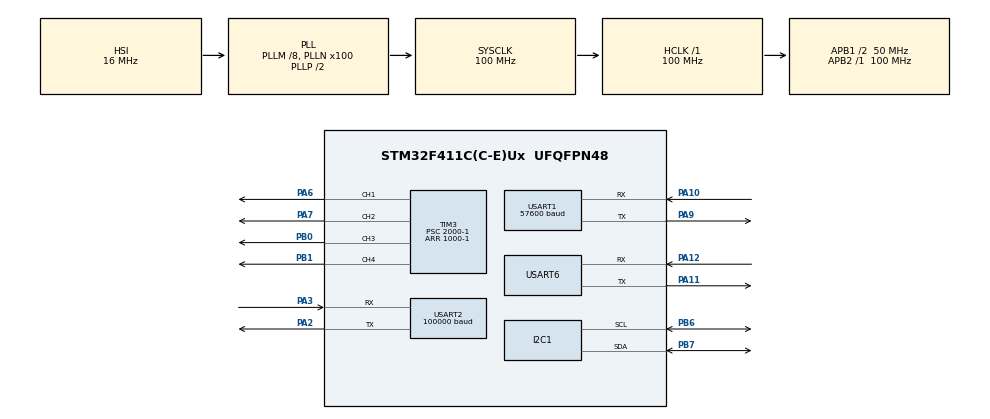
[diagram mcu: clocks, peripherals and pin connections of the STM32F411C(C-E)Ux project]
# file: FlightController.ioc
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Dma.Request0=USART2_RX
Dma.Request1=USART1_RX
Dma.USART1_RX.1.Direction=DMA_PERIPH_TO_MEMORY
Dma.USART1_RX.1.FIFOMode=DMA_FIFOMODE_DISABLE
Dma.USART1_RX.1.Instance=DMA2_Stream2
Dma.USART1_RX.1.MemDataAlignment=DMA_MDATAALIGN_BYTE
Dma.USART1_RX.1.MemInc=DMA_MINC_ENABLE
Dma.USART1_RX.1.Mode=DMA_CIRCULAR
Dma.USART1_RX.1.PeriphDataAlignment=DMA_PDATAALIGN_BYTE
Dma.USART1_RX.1.PeriphInc=DMA_PINC_DISABLE
Dma.USART1_RX.1.Priority=DMA_PRIORITY_LOW
Dma.USART2_RX.0.Direction=DMA_PERIPH_TO_MEMORY
Dma.USART2_RX.0.FIFOMode=DMA_FIFOMODE_DISABLE
Dma.USART2_RX.0.Instance=DMA1_Stream5
Dma.USART2_RX.0.MemDataAlignment=DMA_MDATAALIGN_BYTE
Dma.USART2_RX.0.MemInc=DMA_MINC_ENABLE
Dma.USART2_RX.0.Mode=DMA_CIRCULAR
Dma.USART2_RX.0.PeriphDataAlignment=DMA_PDATAALIGN_BYTE
Dma.USART2_RX.0.PeriphInc=DMA_PINC_DISABLE
Dma.USART2_RX.0.Priority=DMA_PRIORITY_LOW
Mcu.Family=STM32F4
Mcu.Name=STM32F411C(C-E)Ux
Mcu.Package=UFQFPN48
NVIC.DMA1_Stream5_IRQn=true\:0\:0\:false\:false\:true\:false\:true\:true
NVIC.DMA2_Stream2_IRQn=true\:0\:0\:false\:false\:true\:false\:true\:true
NVIC.PriorityGroup=NVIC_PRIORITYGROUP_4
NVIC.USART1_IRQn=true\:2\:0\:true\:false\:true\:true\:true\:true
NVIC.USART2_IRQn=true\:1\:0\:true\:false\:true\:true\:true\:true
PA10.Mode=Asynchronous
PA10.Signal=USART1_RX
PA11.Mode=Asynchronous
PA11.Signal=USART6_TX
PA12.Mode=Asynchronous
PA12.Signal=USART6_RX
PA13.Mode=Serial_Wire
PA13.Signal=SYS_JTMS-SWDIO
PA14.Mode=Serial_Wire
PA14.Signal=SYS_JTCK-SWCLK
PA2.Mode=Asynchronous
PA2.Signal=USART2_TX
PA3.Mode=Asynchronous
PA3.Signal=USART2_RX
PA6.Signal=S_TIM3_CH1
PA7.Signal=S_TIM3_CH2
PA9.Mode=Asynchronous
PA9.Signal=USART1_TX
PB0.Signal=S_TIM3_CH3
PB1.Signal=S_TIM3_CH4
PB6.Mode=I2C
PB6.Signal=I2C1_SCL
PB7.Mode=I2C
PB7.Signal=I2C1_SDA
ProjectManager.HeapSize=0x200
ProjectManager.StackSize=0x400
ProjectManager.TargetToolchain=STM32CubeIDE
RCC.48MHZClocksFreq_Value=50000000
RCC.AHBFreq_Value=100000000
RCC.APB1CLKDivider=RCC_HCLK_DIV2
RCC.APB1Freq_Value=50000000
RCC.APB1TimFreq_Value=100000000
RCC.APB2Freq_Value=100000000
RCC.APB2TimFreq_Value=100000000
RCC.CortexFreq_Value=100000000
RCC.HCLKFreq_Value=100000000
RCC.HSE_VALUE=25000000
RCC.HSI_VALUE=16000000
RCC.LSE_VALUE=32768
RCC.PLLM=8
RCC.PLLN=100
RCC.SYSCLKFreq_VALUE=100000000
RCC.SYSCLKSource=RCC_SYSCLKSOURCE_PLLCLK
RCC.VCOOutputFreq_Value=200000000
SH.S_TIM3_CH1.0=TIM3_CH1,PWM Generation1 CH1
SH.S_TIM3_CH2.0=TIM3_CH2,PWM Generation2 CH2
SH.S_TIM3_CH3.0=TIM3_CH3,PWM Generation3 CH3
SH.S_TIM3_CH4.0=TIM3_CH4,PWM Generation4 CH4
TIM3.Channel-PWM\ Generation1\ CH1=TIM_CHANNEL_1
TIM3.Channel-PWM\ Generation2\ CH2=TIM_CHANNEL_2
TIM3.Channel-PWM\ Generation3\ CH3=TIM_CHANNEL_3
TIM3.Channel-PWM\ Generation4\ CH4=TIM_CHANNEL_4
TIM3.Period=1000-1
TIM3.Prescaler=2000-1
TIM3.Pulse-PWM\ Generation1\ CH1=50
TIM3.Pulse-PWM\ Generation2\ CH2=50
TIM3.Pulse-PWM\ Generation3\ CH3=50
TIM3.Pulse-PWM\ Generation4\ CH4=50
USART1.BaudRate=57600
USART1.VirtualMode=VM_ASYNC
USART2.BaudRate=100000
USART2.Parity=PARITY_EVEN
USART2.StopBits=STOPBITS_2
USART2.VirtualMode=VM_ASYNC
USART2.WordLength=WORDLENGTH_9B
USART6.VirtualMode=VM_ASYNC
VP_TIM3_VS_ClockSourceINT.Mode=Internal
board=custom

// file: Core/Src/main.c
/* USER CODE BEGIN Header */
/**
  ******************************************************************************
  * @file           : main.c
  * @brief          : Main program body
  ******************************************************************************
  * @attention
  *
  * Copyright (c) 2025 STMicroelectronics.
  * All rights reserved.
  *
  * This software is licensed under terms that can be found in the LICENSE file
  * in the root directory of this software component.
  * If no LICENSE file comes with this software, it is provided AS-IS.
  *
  ******************************************************************************
  */
/* USER CODE END Header */
#include "main.h"

/* USER CODE BEGIN Includes */
#include <string.h>
#include <stdio.h>
#include <math.h>
#include <stdbool.h>
/* USER CODE END Includes */

/* USER CODE BEGIN PD */
#define RAD2DEG 57.2957795f
//#define Calibrate 0
#define ESC_MIN_CCR 50
#define ESC_MAX_CCR 100
// Giới hạn cho vòng Angle (Outer)
#define ANGLE_RATE_LIMIT 250.0f  // deg/s (Dau ra toi da cua outer loop)
#define ANGLE_I_LIMIT    100.0f  //  (Giới hạn I-term của vòng Angle)

// Giới hạn cho vòng Rate (Inner)
// NOTE: giá trị này ở đơn vị "timer counts" (TIM3 CCR), không phải µs.
// TIM3 config: 1 tick = 20µs => 20 ticks = 400µs. RATE_OUT_LIMIT = 20 -> ±20 counts.
#define RATE_OUT_LIMIT   20.0f  // power (Đầu ra tối đa, +/-20 PWM)
#define RATE_I_LIMIT     20.0f  // (Giới hạn I-term +/-20 PWM)

//Thong so giao tiep SBUS
#define SBUS_FRAME_SIZE    25 //Data chuan cua SBUS
#define SBUS_START_BYTE    0x0F //Start byte cua sbus
#define SBUS_END_BYTE      0x00 //end byte cua sbus
#define SBUS_END_BYTE2      0x04 //end byte cua sbus

#define SBUS_MIN 9 //do
#define SBUS_MAX 1641 //do
#define IDLE_US 1050

#define SBUS_ROLL_MIN 712 //do
#define SBUS_ROLL_MAX 1494 //do
#define SBUS_PITCH_MIN 662 //do
#define SBUS_PITCH_MAX 1494 //do
#define SBUS_YAWRATE_MIN 505 //do
#define SBUS_YAWRATE_MAX 1310 //do

#define Calibrate 1
/* USER CODE END PD */

I2C_HandleTypeDef hi2c1;

TIM_HandleTypeDef htim3;

UART_HandleTypeDef huart1;
UART_HandleTypeDef huart2;
UART_HandleTypeDef huart6;
DMA_HandleTypeDef hdma_usart1_rx;
DMA_HandleTypeDef hdma_usart2_rx;

/* USER CODE BEGIN PV */
uint32_t LoopTimer = 0;
float dt = 0.004f; //timer duy nhat kiem soat sample rate sensor, kalman, pid
//gyro
uint8_t mpu6050_gyro_flag = 0;
float RateRoll = 0.0f, RatePitch = 0.0f, RateYaw = 0.0f;
float RateCalibrationRoll = 0.0f, RateCalibrationPitch = 0.0f, RateCalibrationYaw = 0.0f;
int RateCalibrationNumber = 0;

//accelerometer
uint8_t value[6];
uint8_t mpu6050_acc_flag = 0;
float AccX = 0.0f, AccY = 0.0f, AccZ = 0.0f;
float AngleRoll = 0.0f, AnglePitch = 0.0f;
float AngleCalibrationRoll = 0.0f; //gia tri calib
float AngleCalibrationPitch = 0.0f; //gia tri calib

//GY-951
uint8_t gy951_rx_buffer[64]; // Bo dem de nhan data (64 byte la an toan)
uint8_t gy951_data_to_process[64];
volatile uint8_t gy951_data_ready_flag = 0;
volatile uint16_t gy951_data_size = 0;

float Yaw, Roll, Pitch;
//kalman filter
float KalmanAngleRoll=0.0f, KalmanUncertaintyAngleRoll=2*2; //gia su sai so 2 do thi phuong sai la 2^2
float KalmanAnglePitch=0.0f, KalmanUncertaintyAnglePitch=2*2;

//PID variable
float PIDReturn[]={0, 0, 0};
//-------Rate/innerLoop
float DesiredRateRoll, DesiredRatePitch, DesiredRateYaw;
float ErrorRateRoll, ErrorRatePitch, ErrorRateYaw;
float InputRoll, InputThrottle, InputPitch, InputYaw; // power (us) dem vao motor
float PrevErrorRateRoll, PrevErrorRatePitch,PrevErrorRateYaw;
float PrevItermRateRoll, PrevItermRatePitch,PrevItermRateYaw;
// chua tune
// PID gains
// inner loop pid
float PRateRoll = 0.25f;  float PRatePitch = 0.25f;
float PRateYaw  = 0.9f;
float IRateRoll = 0.0f;  float IRatePitch = 0.0f;   // khi bench test: tạm để 0.0f
float IRateYaw  = 0.0f;
float DRateRoll = 0.0f; float DRatePitch = 0.0f;
float DRateYaw  = 0.0f;

//-------Angle/OuterLoop
float DesiredAngleRoll, DesiredAnglePitch;
float ErrorAngleRoll,   ErrorAnglePitch;
float PrevErrorAngleRoll, PrevErrorAnglePitch;
float PrevItermAngleRoll, PrevItermAnglePitch;
float PAngleRoll = 2.0f;  float PAnglePitch = 2.0f;
float IAngleRoll = 0.0f;  float IAnglePitch = 0.0f;   // sau khi bay ổn định có thể thử 0.02f
float DAngleRoll = 0.0f;  float DAnglePitch = 0.0f;

//Motor Input
float MotorInput1, MotorInput2, MotorInput3, MotorInput4;
uint8_t m1 = 0;
uint8_t m2 = 0;
uint8_t m3 = 0;
uint8_t m4 = 0;
//Bien danh cho STM32CubeMonitor theo doi
volatile uint16_t M1_us=1000, M2_us=1000, M3_us=1000, M4_us=1000;
volatile int      Throttle_us = 1200;
volatile float    M1_pct=0, M2_pct=0, M3_pct=0, M4_pct=0, Throttle_pct=0;

//Bien danh cho SBUS
uint8_t sbus_rx_buffer[SBUS_FRAME_SIZE]; //Luu data tho
volatile uint16_t rc_channels[16]; //sau khi decode sbus thi dem vao buffer nay
volatile uint8_t sbus_data_ready_flag = 0; //flag de check trong while
uint16_t pulse_width;
volatile uint16_t throttle_channel_value;
volatile uint32_t last_sbus_ms = 0;
static float throttle_pulse_filt = 50.0f;   // EMA filter

#define I2C_TIMEOUT_MS 3 // vi vong lap 4ms nen de timeout 3ms

//2 ham user de ghi va doc vao i2c
// vi 0x68 co 7 bit ma ta dia chi can 8 bit nen ta dich 1 bit
static inline HAL_StatusTypeDef wr8(I2C_HandleTypeDef* hi2c, uint8_t reg, uint8_t val) {
  return HAL_I2C_Mem_Write(hi2c, 0x68<<1, reg, I2C_MEMADD_SIZE_8BIT, &val, 1, I2C_TIMEOUT_MS);
}
static inline HAL_StatusTypeDef rd(I2C_HandleTypeDef* hi2c, uint8_t reg, uint8_t* buf, uint16_t len) {
  return HAL_I2C_Mem_Read(hi2c, 0x68<<1, reg, I2C_MEMADD_SIZE_8BIT, buf, len, I2C_TIMEOUT_MS);
}

//kalman filter lay input la: gia tri truoc do, sai so truoc do, input(rate_gyro), gia tri measure (angle_accelerometer)
void kalman_1d(float* pKalmanState,
  float* pKalmanUncertainty, float KalmanInput,
  float KalmanMeasurement, float dt_s)
  {
    float KalmanState = *pKalmanState; //lay gia tri k-1
    float KalmanUncertainty = *pKalmanUncertainty; ////lay sai so k-1
    KalmanState=KalmanState+dt_s*KalmanInput; //B1: du doan tho (raw) goc hien tai (angle(k) = angle(k-1) + dt*toc_do_goc )
    KalmanUncertainty=KalmanUncertainty + dt_s*dt_s * 4 * 4; //B2 du doan tho (raw) sai so hien tai
    float KalmanGain=KalmanUncertainty * 1/(1*KalmanUncertainty + 3 * 3); //B3: tinh he so kalman gain
    KalmanState=KalmanState+KalmanGain * (KalmanMeasurement-KalmanState); //B4: du doan toi uu goc hien tai (angle_kalman)
    KalmanUncertainty=(1-KalmanGain) *  KalmanUncertainty; //B5: du doan toi uu sai so hien tai (saiSo_kalman)
    *pKalmanState=KalmanState; //luu goc du doan_kalman hien tai
    *pKalmanUncertainty=KalmanUncertainty; //luu sai so du doan_kalman hien tai
 }
void gyro_signal(void){

  // read register 0x43 -> 0x48 => 6 byte
  // save to b[6], vi data cua gyro 16bit
  //, ma chia ra 2 mang nen b[0] va b[1] la data day du cua rate_x, tuong tu y voi z
  // tuy nhien voi sensing scale factor 65.5/ do/s thi ta chia gia tri doc duoc cho 65.5 => toc do
  if (rd(&hi2c1, 0x43, value, 6) == HAL_OK) {
	mpu6050_gyro_flag = 1;
    int16_t gx_raw = (int16_t)((value[0] << 8) | value[1]);
    int16_t gy_raw = (int16_t)((value[2] << 8) | value[3]);
    int16_t gz_raw = (int16_t)((value[4] << 8) | value[5]);
    const float sens = 65.5f; // LSB per (deg/s) for FS_SEL=1
    RateRoll  = gx_raw / sens;
    RatePitch = gy_raw / sens;
    RateYaw   = gz_raw / sens;
  }

  //doc accelerometer
  if (rd(&hi2c1, 0x3B, value, 6) == HAL_OK) {
	mpu6050_acc_flag = 1;
	int16_t AccXLSB = (int16_t)((value[0] << 8) | value[1]);
	int16_t AccYLSB = (int16_t)((value[2] << 8) | value[3]);
	int16_t AccZLSB = (int16_t)((value[4] << 8) | value[5]);

	AccX=(float)AccXLSB/4096;
	AccY=(float)AccYLSB/4096;
	AccZ=(float)AccZLSB/4096;
	float denomR = sqrtf(AccX*AccX + AccZ*AccZ) + 1e-6f; // tranh chia cho 0
	float denomP = sqrtf(AccY*AccY + AccZ*AccZ) + 1e-6f;
	AngleRoll  = atanf(AccY / denomR) * RAD2DEG;
	AnglePitch = -atanf(AccX / denomP) * RAD2DEG;
  }
}

//pid tranh I bao hoa, tich luy qua nhieu, vuot gioi han i_limit
// tranh gia tri pid out vuot gioi han out_limit
void pid_equation(float Error, float P , float I, float D,
                  float PrevError, float PrevIterm, float dt_s,
                  float i_limit, float out_limit) {
  float Pterm = P * Error;

  // D dùng dt có chặn đáy
  float deriv_dt = (dt_s > 0.0005f) ? dt_s : 0.0005f; //tranh dt qua nho ~ 0 thi chia bi loi
  float Dterm = D * (Error - PrevError) / deriv_dt;

  // Tính output tạm thời (chưa tích I) để xét bão hòa
  float pre = Pterm + PrevIterm + Dterm;

  float Iterm = PrevIterm;
  // Nếu đang bão hòa và lỗi cùng chiều → không tích I (anti-windup)
  if (!((pre >=  out_limit && Error >  0) ||
        (pre <= -out_limit && Error <  0))) {
    Iterm = PrevIterm + I * (Error + PrevError) * (dt_s * 0.5f); // dien tich hinh thang = (f(k-1) + f(k))*dt/2
    if (Iterm >  i_limit) Iterm =  i_limit;
    if (Iterm < -i_limit) Iterm = -i_limit;
  }

  float out = Pterm + Iterm + Dterm; //gia tri pid
  if (out >  out_limit) out =  out_limit;
  if (out < -out_limit) out = -out_limit;

  PIDReturn[0] = out;
  PIDReturn[1] = Error;
  PIDReturn[2] = Iterm;
}

void reset_pid(void) {
	PrevErrorRateRoll=0; PrevErrorRatePitch=0;	PrevErrorRateYaw=0;
	PrevItermRateRoll=0; PrevItermRatePitch=0;	PrevItermRateYaw=0;
	PrevErrorAngleRoll=0; PrevErrorAnglePitch=0;
	PrevItermAngleRoll=0; PrevItermAnglePitch=0;
}

//gioi han gia tri power (us) gui ve esc
static inline uint16_t pulse_saturate(int v) {
  if (v < ESC_MIN_CCR) v = ESC_MIN_CCR;
  if (v > ESC_MAX_CCR) v = ESC_MAX_CCR;
  return (uint16_t)v;
}

//giai ma sbus data raw vao rc_channel[16]
void sbus_decode(volatile uint8_t* sbus_frame, uint16_t* channels) {
    // Kiểm tra Start Byte và End Byte, end byte co loa 0x00 co loai 0x04
    if (sbus_frame[0] != SBUS_START_BYTE || (sbus_frame[24] != SBUS_END_BYTE && sbus_frame[24] != SBUS_END_BYTE2)) {
        return; // Gói tin không hợp lệ
    }

    // Giải mã 16 kênh (mỗi kênh 11 bit)
    channels[0]  = (uint16_t)((sbus_frame[1]    | sbus_frame[2] << 8) & 0x07FF);
    channels[1]  = (uint16_t)((sbus_frame[2] >> 3 | sbus_frame[3] << 5) & 0x07FF);
    channels[2]  = (uint16_t)((sbus_frame[3] >> 6 | sbus_frame[4] << 2 | sbus_frame[5] << 10) & 0x07FF);
    channels[3]  = (uint16_t)((sbus_frame[5] >> 1 | sbus_frame[6] << 7) & 0x07FF);
    channels[4]  = (uint16_t)((sbus_frame[6] >> 4 | sbus_frame[7] << 4) & 0x07FF);
    channels[5]  = (uint16_t)((sbus_frame[7] >> 7 | sbus_frame[8] << 1 | sbus_frame[9] << 9) & 0x07FF);
    channels[6]  = (uint16_t)((sbus_frame[9] >> 2 | sbus_frame[10] << 6) & 0x07FF);
    channels[7]  = (uint16_t)((sbus_frame[10] >> 5 | sbus_frame[11] << 3) & 0x07FF);
    channels[8]  = (uint16_t)((sbus_frame[12]   | sbus_frame[13] << 8) & 0x07FF);
    channels[9]  = (uint16_t)((sbus_frame[13] >> 3 | sbus_frame[14] << 5) & 0x07FF);
    channels[10] = (uint16_t)((sbus_frame[14] >> 6 | sbus_frame[15] << 2 | sbus_frame[16] << 10) & 0x07FF);
    channels[11] = (uint16_t)((sbus_frame[16] >> 1 | sbus_frame[17] << 7) & 0x07FF);
    channels[12] = (uint16_t)((sbus_frame[17] >> 4 | sbus_frame[18] << 4) & 0x07FF);
    channels[13] = (uint16_t)((sbus_frame[18] >> 7 | sbus_frame[19] << 1 | sbus_frame[20] << 9) & 0x07FF);
    channels[14] = (uint16_t)((sbus_frame[20] >> 2 | sbus_frame[21] << 6) & 0x07FF);
    channels[15] = (uint16_t)((sbus_frame[21] >> 5 | sbus_frame[22] << 3) & 0x07FF);
}

//lay gia tri SBUS -> us,
static inline uint16_t sbus_to_us(uint16_t v){
  if (v < SBUS_MIN)  v = SBUS_MIN;
  if (v > SBUS_MAX)  v = SBUS_MAX;
  return (uint16_t)(1000 + (v - SBUS_MIN) * (1000.0f / (SBUS_MAX - SBUS_MIN)));
}

//ham call back RX khi nhan data
void HAL_UARTEx_RxEventCallback(UART_HandleTypeDef *huart, uint16_t Size)
{
	if (huart->Instance == USART2)
	{
		if (Size >= SBUS_FRAME_SIZE)
		{
			sbus_decode(sbus_rx_buffer, rc_channels);
			sbus_data_ready_flag = 1; //dat co trong while
      last_sbus_ms = HAL_GetTick(); //dat moc decode xong SBUS
		}
		HAL_UARTEx_ReceiveToIdle_DMA(&huart2, sbus_rx_buffer, SBUS_FRAME_SIZE);
    __HAL_DMA_DISABLE_IT(&hdma_usart2_rx, DMA_IT_HT); // tránh callback nửa khung
	}
//  else if (huart->Instance == USART1) // == Day la GY-951
//    {
//        // Copy data da nhan vao bo dem xu ly
//        memcpy(gy951_data_to_process, gy951_rx_buffer, Size);
//        gy951_data_to_process[Size] = '\0'; // Bien no thanh 1 chuoi string
//
//        gy951_data_size = Size; // Luu lai kich thuoc goi tin
//        gy951_data_ready_flag = 1; // Bat co bao hieu cho while(1)
//
//        // Khoi dong lai DMA de nhan goi tiep theo
//        HAL_UARTEx_ReceiveToIdle_DMA(&huart1, gy951_rx_buffer, 64);
//    }
}

//map gia tri trong khoang [in_min,in_max] -> [out_min, out_max]
long map(long value, long in_min, long in_max, long out_min, long out_max) {
	if (value < in_min) value = in_min;
  if (value > in_max) value = in_max;
  return (value - in_min) * (out_max - out_min) / (in_max - in_min) + out_min;
}

static inline float fmap(long value, long in_min, long in_max, float out_min, float out_max) {
	if (value < in_min) value = in_min;
	if (value > in_max) value = in_max;
  return out_min + (float)(value - in_min) * (out_max - out_min) / (float)(in_max - in_min);
}

/* USER CODE END PV */

void SystemClock_Config(void);
static void MX_GPIO_Init(void);
static void MX_DMA_Init(void);
static void MX_I2C1_Init(void);
static void MX_USART1_UART_Init(void);
static void MX_TIM3_Init(void);
static void MX_USART2_UART_Init(void);
static void MX_USART6_UART_Init(void);

/* USER CODE BEGIN 0 */
int8_t items_matched;

/* USER CODE END 0 */

int main(void)
{

  /* MCU Configuration--------------------------------------------------------*/

  /* Reset of all peripherals, Initializes the Flash interface and the Systick. */
  HAL_Init();

  /* Configure the system clock */
  SystemClock_Config();

  /* Initialize all configured peripherals */
  MX_GPIO_Init();
  MX_DMA_Init();
  MX_I2C1_Init();
  MX_USART1_UART_Init();
  MX_TIM3_Init();
  MX_USART2_UART_Init();
  MX_USART6_UART_Init();
  /* USER CODE BEGIN 2 */
  HAL_TIM_PWM_Start(&htim3, TIM_CHANNEL_1);
  HAL_TIM_PWM_Start(&htim3, TIM_CHANNEL_2);
  HAL_TIM_PWM_Start(&htim3, TIM_CHANNEL_3);
  HAL_TIM_PWM_Start(&htim3, TIM_CHANNEL_4);

  #if Calibrate
		TIM3->CCR1=ESC_MAX_CCR; //set the maximum (2ms)
		TIM3->CCR2=ESC_MAX_CCR;
		TIM3->CCR3=ESC_MAX_CCR;
		TIM3->CCR4=ESC_MAX_CCR;

		HAL_Delay(3000); //wait for 1 beep
		TIM3->CCR1=ESC_MIN_CCR; //set the minimum (2ms)
		TIM3->CCR2=ESC_MIN_CCR;
		TIM3->CCR3=ESC_MIN_CCR;
		TIM3->CCR4=ESC_MIN_CCR;
		HAL_Delay(3000); //wait for 1 beep
	#endif

  HAL_Delay(250);
  (void)wr8(&hi2c1, 0x6B, 0x00);  // wake mpu
  (void)wr8(&hi2c1, 0x1A,0x03); // cho thanh ghi 0x1A = 0x03 => low pass filter ~44hz
  (void)wr8(&hi2c1, 0x1B,0x08); // config sensing scale factor la *65.5*/ do/s
  //sample rate cua cam bien binh thuong la 8khz, neu bat lowpassfilter thi doc la 1000hz
  (void)wr8(&hi2c1, 0x19, 0x03); // Set Sample Rate cua cam bien 250hz
  (void)wr8(&hi2c1, 0x1C, 0x10); // set full scale range cua accelerometer la +-8g

  HAL_UARTEx_ReceiveToIdle_DMA(&huart2, sbus_rx_buffer, SBUS_FRAME_SIZE); //bat callback
//  HAL_UARTEx_ReceiveToIdle_DMA(&huart1, gy951_rx_buffer, 64);

	__HAL_DMA_DISABLE_IT(&hdma_usart2_rx, DMA_IT_HT);   // tắt ngat giua chung khi dang doc tin nhan uart

  //calibrate gyro && accelerometer
  // doc 2000 lan, tinh trung binh roi tru di gia tri trung binh do
  for (RateCalibrationNumber = 0;
	  RateCalibrationNumber < 2000;
	  RateCalibrationNumber++)
  {
	  gyro_signal();
	  RateCalibrationPitch += RatePitch;
	  RateCalibrationRoll += RateRoll;
	  RateCalibrationYaw += RateYaw;

	  AngleCalibrationPitch += AnglePitch;
	  AngleCalibrationRoll += AngleRoll;
	  HAL_Delay(1);
  }
  //gia tri calib
	RateCalibrationPitch/=2000;
	RateCalibrationRoll/=2000;
	RateCalibrationYaw/=2000;
	AngleCalibrationPitch /= 2000;
	AngleCalibrationRoll /= 2000;

  //chan an toan khi chua khoi dong, can phai gat can throttle ve min roi moi bay duoc
  // Chờ tín hiệu SBUS đầu tiên
// Chờ tín hiệu SBUS đầu tiên
   while (sbus_data_ready_flag == 0) { HAL_Delay(1); }
   // Chờ ga về min
   while ( (uint16_t)map(rc_channels[2], SBUS_MIN, SBUS_MAX, ESC_MIN_CCR, ESC_MAX_CCR) > ESC_MIN_CCR*1.2 ) {
 	  sbus_data_ready_flag = 0;
 	  while (sbus_data_ready_flag == 0) { HAL_Delay(1); }
 }

  reset_pid();
  LoopTimer = HAL_GetTick();

  /* USER CODE END 2 */

  /* Infinite loop */
  while (1)
  {

    /* USER CODE BEGIN 3 */
    // f he thong ~250 Hz
    while ((HAL_GetTick() - LoopTimer) < 4) {}
    uint32_t now = HAL_GetTick();
    dt = (now - LoopTimer) * 0.001f; // miliseconds -> second
    if (dt < 0.001f) dt = 0.001f;    // clamp to avoid div-by-zero/noise
    if (dt > 0.05f)  dt = 0.05f;  // chan tren de tranh dt lon lam thanh phan I lon,
    LoopTimer = now;

    if (sbus_data_ready_flag) {
      sbus_data_ready_flag = 0;
      throttle_channel_value = (uint16_t)map(rc_channels[2], SBUS_MIN, SBUS_MAX, ESC_MIN_CCR, ESC_MAX_CCR);
      // Dùng bộ lọc EMA để làm mượt ga ??? co can cai nay khong
      throttle_pulse_filt = (throttle_pulse_filt * 0.75f) + (throttle_channel_value * 0.25f);

      // 2. Ánh xạ các kênh điều khiển (Roll, Pitch, Yaw)
      DesiredAngleRoll = fmap(rc_channels[0], SBUS_ROLL_MIN, SBUS_ROLL_MAX, -30, 30);
      DesiredAnglePitch = fmap(rc_channels[1], SBUS_PITCH_MIN, SBUS_PITCH_MAX, -30, 30);
      DesiredRateYaw = fmap(rc_channels[3], SBUS_YAWRATE_MIN, SBUS_YAWRATE_MAX, -150, 150);
      DesiredRateYaw = 0;
    }
    //     // nhan input roi nhung cu hardcode test truoc
    // DesiredAngleRoll  = 0.0f;
    // DesiredAnglePitch = 0.0f;
    // DesiredRateYaw    = 0.0f;

    // Logic Fail 1: Mat song >50ms
    bool fs = (HAL_GetTick() - last_sbus_ms) > 50;
    if(fs) {throttle_channel_value = ESC_MIN_CCR;} // neu khong nhan tin hieu lau qua thi tat??? o day nen co logic fail safe khac
    else {throttle_channel_value = (uint16_t)throttle_pulse_filt;}

    //Logic Fail 2: Tat dong co thu cong
      if (throttle_channel_value < ESC_MIN_CCR*1.2)
      {
        throttle_channel_value = ESC_MIN_CCR; // tat dong co
        reset_pid();
        InputRoll = 0; // Tắt điều khiển khi disarm
        InputPitch = 0;
        InputYaw = 0;
        DesiredAngleRoll = 0.0f;
        DesiredAnglePitch = 0.0f;
        DesiredRateYaw = 0.0f;
        m1=ESC_MIN_CCR;
        m2=ESC_MIN_CCR;
        m3=ESC_MIN_CCR;
        m4=ESC_MIN_CCR;
        TIM3->CCR1 = throttle_channel_value;
        TIM3->CCR2 = throttle_channel_value;
        TIM3->CCR3 = throttle_channel_value;
        TIM3->CCR4 = throttle_channel_value;
        continue;
      }

    gyro_signal();
    //calib gyro && accelerometer
    if (mpu6050_gyro_flag){
    	mpu6050_gyro_flag = 0;
    	RatePitch -= RateCalibrationPitch;
		RateRoll -= RateCalibrationRoll;
		RateYaw -= RateCalibrationYaw;
    }
    if (mpu6050_acc_flag) {
    	mpu6050_acc_flag = 0;
		AnglePitch -= AngleCalibrationPitch;
		AngleRoll -= AngleCalibrationRoll;
    }

    kalman_1d(&KalmanAngleRoll,  &KalmanUncertaintyAngleRoll,  RateRoll,  AngleRoll,  dt);
    kalman_1d(&KalmanAnglePitch, &KalmanUncertaintyAnglePitch, RatePitch, AnglePitch, dt);

//    if (gy951_data_ready_flag)
//    {
//        gy951_data_ready_flag = 0;
//
//        // Dung sscanf de "boc tach" chuoi data
//        // Dinh dang: #YPR=float,float,float
//        items_matched = sscanf((char*)gy951_data_to_process, "#YPR=%f,%f,%f", &Yaw, &Pitch, &Roll);
//
//
//    }
    //PID outer Loop
    ErrorAngleRoll = DesiredAngleRoll - KalmanAngleRoll;
    ErrorAnglePitch = DesiredAnglePitch - KalmanAnglePitch;

    pid_equation(ErrorAngleRoll, PAngleRoll, IAngleRoll, DAngleRoll,
                 PrevErrorAngleRoll, PrevItermAngleRoll, dt,
                 ANGLE_I_LIMIT, ANGLE_RATE_LIMIT);
    DesiredRateRoll = PIDReturn[0];
    PrevErrorAngleRoll = PIDReturn[1];
    PrevItermAngleRoll = PIDReturn[2];

    pid_equation(ErrorAnglePitch, PAnglePitch, IAnglePitch, DAnglePitch,
                 PrevErrorAnglePitch, PrevItermAnglePitch, dt,
                 ANGLE_I_LIMIT, ANGLE_RATE_LIMIT);
    DesiredRatePitch = PIDReturn[0];
    PrevErrorAnglePitch = PIDReturn[1];
    PrevItermAnglePitch = PIDReturn[2];

    //PID inner Loop
    ErrorRateRoll = DesiredRateRoll - RateRoll;
    ErrorRatePitch = DesiredRatePitch - RatePitch;
    ErrorRateYaw = DesiredRateYaw - RateYaw;

    pid_equation(ErrorRateRoll, PRateRoll, IRateRoll, DRateRoll,
                 PrevErrorRateRoll, PrevItermRateRoll, dt,
                 RATE_I_LIMIT, RATE_OUT_LIMIT);
    InputRoll = PIDReturn[0]*0.1;
    PrevErrorRateRoll = PIDReturn[1];
    PrevItermRateRoll = PIDReturn[2];

    pid_equation(ErrorRatePitch, PRatePitch, IRatePitch, DRatePitch,
                 PrevErrorRatePitch, PrevItermRatePitch, dt,
                 RATE_I_LIMIT, RATE_OUT_LIMIT);
    InputPitch = 0.05*PIDReturn[0];
    PrevErrorRatePitch = PIDReturn[1];
    PrevItermRatePitch = PIDReturn[2];

    pid_equation(ErrorRateYaw, PRateYaw, IRateYaw, DRateYaw,
                 PrevErrorRateYaw, PrevItermRateYaw, dt,
                 RATE_I_LIMIT, RATE_OUT_LIMIT);
    InputYaw = PIDReturn[0];
    PrevErrorRateYaw = PIDReturn[1];
    PrevItermRateYaw = PIDReturn[2];
//    throttle_channel_value = 60;
    m1 = pulse_saturate((uint16_t)(throttle_channel_value - InputRoll - InputPitch - InputYaw));
    m2 = pulse_saturate((uint16_t)(throttle_channel_value - InputRoll + InputPitch + InputYaw));
    m3 = pulse_saturate((uint16_t)(throttle_channel_value + InputRoll + InputPitch - InputYaw));
    m4 = pulse_saturate((uint16_t)(throttle_channel_value + InputRoll - InputPitch + InputYaw));

    // //gui cho dong co power (us)
     TIM3->CCR1 = m1;
     TIM3->CCR2 = m2;
     TIM3->CCR3 = m3;
     TIM3->CCR4 = m4;

  }
  /* USER CODE END 3 */
}

void SystemClock_Config(void)
{
  RCC_OscInitTypeDef RCC_OscInitStruct = {0};
  RCC_ClkInitTypeDef RCC_ClkInitStruct = {0};

  /** Configure the main internal regulator output voltage
  */
  __HAL_RCC_PWR_CLK_ENABLE();
  __HAL_PWR_VOLTAGESCALING_CONFIG(PWR_REGULATOR_VOLTAGE_SCALE1);

  /** Initializes the RCC Oscillators according to the specified parameters
  * in the RCC_OscInitTypeDef structure.
  */
  RCC_OscInitStruct.OscillatorType = RCC_OSCILLATORTYPE_HSI;
  RCC_OscInitStruct.HSIState = RCC_HSI_ON;
  RCC_OscInitStruct.HSICalibrationValue = RCC_HSICALIBRATION_DEFAULT;
  RCC_OscInitStruct.PLL.PLLState = RCC_PLL_ON;
  RCC_OscInitStruct.PLL.PLLSource = RCC_PLLSOURCE_HSI;
  RCC_OscInitStruct.PLL.PLLM = 8;
  RCC_OscInitStruct.PLL.PLLN = 100;
  RCC_OscInitStruct.PLL.PLLP = RCC_PLLP_DIV2;
  RCC_OscInitStruct.PLL.PLLQ = 4;
  if (HAL_RCC_OscConfig(&RCC_OscInitStruct) != HAL_OK)
  {
    Error_Handler();
  }

  /** Initializes the CPU, AHB and APB buses clocks
  */
  RCC_ClkInitStruct.ClockType = RCC_CLOCKTYPE_HCLK|RCC_CLOCKTYPE_SYSCLK
                              |RCC_CLOCKTYPE_PCLK1|RCC_CLOCKTYPE_PCLK2;
  RCC_ClkInitStruct.SYSCLKSource = RCC_SYSCLKSOURCE_PLLCLK;
  RCC_ClkInitStruct.AHBCLKDivider = RCC_SYSCLK_DIV1;
  RCC_ClkInitStruct.APB1CLKDivider = RCC_HCLK_DIV2;
  RCC_ClkInitStruct.APB2CLKDivider = RCC_HCLK_DIV1;

  if (HAL_RCC_ClockConfig(&RCC_ClkInitStruct, FLASH_LATENCY_3) != HAL_OK)
  {
    Error_Handler();
  }
}

static void MX_I2C1_Init(void)
{

  hi2c1.Instance = I2C1;
  hi2c1.Init.ClockSpeed = 100000;
  hi2c1.Init.DutyCycle = I2C_DUTYCYCLE_2;
  hi2c1.Init.OwnAddress1 = 0;
  hi2c1.Init.AddressingMode = I2C_ADDRESSINGMODE_7BIT;
  hi2c1.Init.DualAddressMode = I2C_DUALADDRESS_DISABLE;
  hi2c1.Init.OwnAddress2 = 0;
  hi2c1.Init.GeneralCallMode = I2C_GENERALCALL_DISABLE;
  hi2c1.Init.NoStretchMode = I2C_NOSTRETCH_DISABLE;
  if (HAL_I2C_Init(&hi2c1) != HAL_OK)
  {
    Error_Handler();
  }

}

static void MX_TIM3_Init(void)
{

  TIM_ClockConfigTypeDef sClockSourceConfig = {0};
  TIM_MasterConfigTypeDef sMasterConfig = {0};
  TIM_OC_InitTypeDef sConfigOC = {0};

  htim3.Instance = TIM3;
  htim3.Init.Prescaler = 2000-1;
  htim3.Init.CounterMode = TIM_COUNTERMODE_UP;
  htim3.Init.Period = 1000-1;
  htim3.Init.ClockDivision = TIM_CLOCKDIVISION_DIV1;
  htim3.Init.AutoReloadPreload = TIM_AUTORELOAD_PRELOAD_DISABLE;
  if (HAL_TIM_Base_Init(&htim3) != HAL_OK)
  {
    Error_Handler();
  }
  sClockSourceConfig.ClockSource = TIM_CLOCKSOURCE_INTERNAL;
  if (HAL_TIM_ConfigClockSource(&htim3, &sClockSourceConfig) != HAL_OK)
  {
    Error_Handler();
  }
  if (HAL_TIM_PWM_Init(&htim3) != HAL_OK)
  {
    Error_Handler();
  }
  sMasterConfig.MasterOutputTrigger = TIM_TRGO_RESET;
  sMasterConfig.MasterSlaveMode = TIM_MASTERSLAVEMODE_DISABLE;
  if (HAL_TIMEx_MasterConfigSynchronization(&htim3, &sMasterConfig) != HAL_OK)
  {
    Error_Handler();
  }
  sConfigOC.OCMode = TIM_OCMODE_PWM1;
  sConfigOC.Pulse = 50;
  sConfigOC.OCPolarity = TIM_OCPOLARITY_HIGH;
  sConfigOC.OCFastMode = TIM_OCFAST_DISABLE;
  if (HAL_TIM_PWM_ConfigChannel(&htim3, &sConfigOC, TIM_CHANNEL_1) != HAL_OK)
  {
    Error_Handler();
  }
  if (HAL_TIM_PWM_ConfigChannel(&htim3, &sConfigOC, TIM_CHANNEL_2) != HAL_OK)
  {
    Error_Handler();
  }
  if (HAL_TIM_PWM_ConfigChannel(&htim3, &sConfigOC, TIM_CHANNEL_3) != HAL_OK)
  {
    Error_Handler();
  }
  if (HAL_TIM_PWM_ConfigChannel(&htim3, &sConfigOC, TIM_CHANNEL_4) != HAL_OK)
  {
    Error_Handler();
  }
  HAL_TIM_MspPostInit(&htim3);

}

static void MX_USART1_UART_Init(void)
{

  huart1.Instance = USART1;
  huart1.Init.BaudRate = 57600;
  huart1.Init.WordLength = UART_WORDLENGTH_8B;
  huart1.Init.StopBits = UART_STOPBITS_1;
  huart1.Init.Parity = UART_PARITY_NONE;
  huart1.Init.Mode = UART_MODE_TX_RX;
  huart1.Init.HwFlowCtl = UART_HWCONTROL_NONE;
  huart1.Init.OverSampling = UART_OVERSAMPLING_16;
  if (HAL_UART_Init(&huart1) != HAL_OK)
  {
    Error_Handler();
  }

}

static void MX_USART2_UART_Init(void)
{

  huart2.Instance = USART2;
  huart2.Init.BaudRate = 100000;
  huart2.Init.WordLength = UART_WORDLENGTH_9B;
  huart2.Init.StopBits = UART_STOPBITS_2;
  huart2.Init.Parity = UART_PARITY_EVEN;
  huart2.Init.Mode = UART_MODE_TX_RX;
  huart2.Init.HwFlowCtl = UART_HWCONTROL_NONE;
  huart2.Init.OverSampling = UART_OVERSAMPLING_16;
  if (HAL_UART_Init(&huart2) != HAL_OK)
  {
    Error_Handler();
  }

}

static void MX_USART6_UART_Init(void)
{

  huart6.Instance = USART6;
  huart6.Init.BaudRate = 115200;
  huart6.Init.WordLength = UART_WORDLENGTH_8B;
  huart6.Init.StopBits = UART_STOPBITS_1;
  huart6.Init.Parity = UART_PARITY_NONE;
  huart6.Init.Mode = UART_MODE_TX_RX;
  huart6.Init.HwFlowCtl = UART_HWCONTROL_NONE;
  huart6.Init.OverSampling = UART_OVERSAMPLING_16;
  if (HAL_UART_Init(&huart6) != HAL_OK)
  {
    Error_Handler();
  }

}

static void MX_DMA_Init(void)
{

  /* DMA controller clock enable */
  __HAL_RCC_DMA1_CLK_ENABLE();
  __HAL_RCC_DMA2_CLK_ENABLE();

  /* DMA interrupt init */
  /* DMA1_Stream5_IRQn interrupt configuration */
  HAL_NVIC_SetPriority(DMA1_Stream5_IRQn, 0, 0);
  HAL_NVIC_EnableIRQ(DMA1_Stream5_IRQn);
  /* DMA2_Stream2_IRQn interrupt configuration */
  HAL_NVIC_SetPriority(DMA2_Stream2_IRQn, 0, 0);
  HAL_NVIC_EnableIRQ(DMA2_Stream2_IRQn);

}

static void MX_GPIO_Init(void)
{

  /* GPIO Ports Clock Enable */
  __HAL_RCC_GPIOA_CLK_ENABLE();
  __HAL_RCC_GPIOB_CLK_ENABLE();

}

void Error_Handler(void)
{
  __disable_irq();
  while (1)
  {
  }
}
